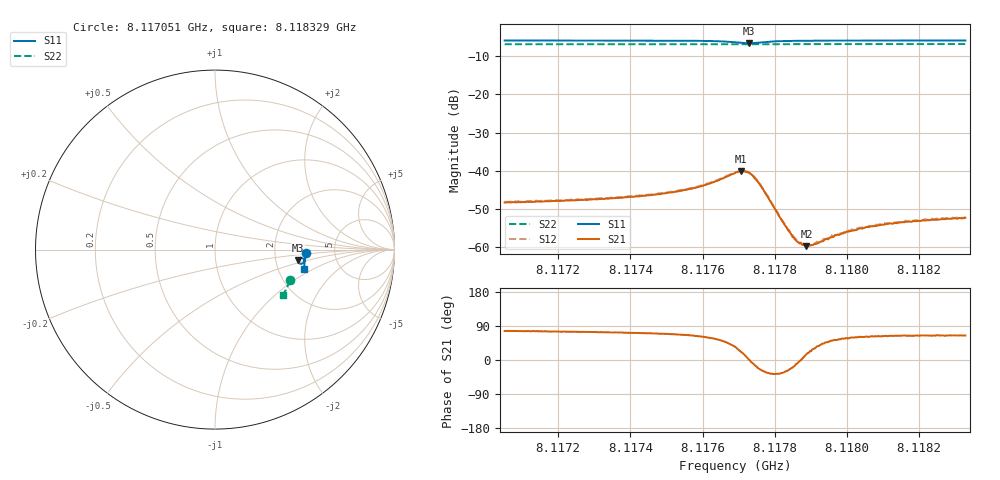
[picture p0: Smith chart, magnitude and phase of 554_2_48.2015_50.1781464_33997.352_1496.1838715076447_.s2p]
#  HZ  S  RI  R  50.00
! Rohde & Schwarz Vector Network Analyzer
! Rohde-Schwarz,ZNB20-2Port,1311601062101988,3.16
! Created: UTC 3/20/2024, 12:00:54 PM
! freq[Hz]  re:S11  im:S11  re:S21  im:S21  re:S12  im:S12  re:S22  im:S22
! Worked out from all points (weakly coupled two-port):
!   401 points, 8.117051 GHz to 8.118329 GHz, reference 50 ohm
!   highest |S21| = -40.07 dB at 8.117706 GHz (marker M1); lowest = -59.6 dB at 8.117888 GHz (marker M2)
!   lowest |S11| = -6.6 dB at 8.117728 GHz (marker M3), VSWR 2.74, Z = 133 - j20.3 ohm
!   |S11| at or under -10 dB: nowhere
!   |S22| runs from -6.9 to -6.8 dB; largest |S21 - S12| = 0.00038
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8.1170514e9  0.5064 -0.0195  0.000903 0.00375  0.000971 0.00382  0.4176 -0.1717
8.1172654e9  0.5049 -0.0367  0.00115 0.00402  0.00118 0.00407  0.4122 -0.1859
8.1173707e9  0.5037 -0.0457  0.00134 0.00423  0.00141 0.00431  0.4092 -0.1926
8.1174793e9  0.5016 -0.0559  0.00173 0.00464  0.00181 0.00479  0.4061 -0.1997
8.1175496e9  0.4991 -0.0636  0.00227 0.00515  0.00232 0.00519  0.4041 -0.2043
8.1175943e9  0.4961 -0.0693  0.00291 0.00556  0.00306 0.00564  0.4027 -0.2072
8.1176358e9  0.4907 -0.0753  0.00411 0.00602  0.00421 0.00614  0.4011 -0.2099
8.1176901e9  0.4731 -0.0787  0.0077 0.00534  0.00789 0.00535  0.3989 -0.2131
8.1177061e9  0.4656 -0.0738  0.0092 0.00371  0.00927 0.00378  0.398 -0.2137
8.1177284e9  0.4615 -0.0597  0.0095 0.000206  0.00961 0.000264  0.3974 -0.2143
8.1177412e9  0.4652 -0.0516  0.00832 -0.00149  0.00848 -0.00159  0.3974 -0.2149
8.1177603e9  0.4753 -0.0457  0.00587 -0.00277  0.00601 -0.00283  0.3971 -0.2158
8.1178306e9  0.4953 -0.0559  0.00164 -0.000937  0.00165 -0.00102  0.396 -0.2207
8.117853e9  0.4971 -0.06  0.00128 -0.000395  0.00131 -0.000442  0.3953 -0.2223
8.1178689e9  0.498 -0.0625  0.00113 -5.97e-05  0.00112 -6.46e-05  0.3949 -0.2233
8.1178881e9  0.4985 -0.0654  0.00101 0.000278  0.00102 0.000253  0.3941 -0.2248
8.1179041e9  0.4989 -0.0675  0.000948 0.000495  0.000993 0.000515  0.3936 -0.2255
8.1179679e9  0.499 -0.0749  0.000878 0.00116  0.000896 0.00114  0.3916 -0.2295
8.1180062e9  0.4988 -0.0788  0.000877 0.00137  0.00088 0.00142  0.3903 -0.2322
8.1180701e9  0.4981 -0.0849  0.000852 0.00167  0.00091 0.00168  0.3883 -0.2361
8.118118e9  0.4973 -0.0891  0.000916 0.00184  0.000977 0.00184  0.3866 -0.2389
8.1183288e9  0.4942 -0.1062  0.00105 0.0022  0.0011 0.00225  0.3791 -0.252
